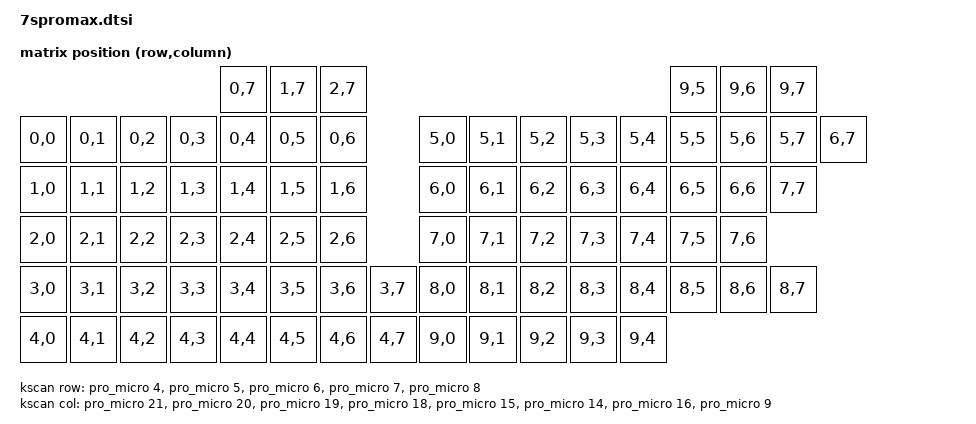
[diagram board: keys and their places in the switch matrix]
/*
 * 7sProMax shield (shared part) for ZMK v0.3.
 *
 * Matrix wiring is taken from the official BLE Micro Pro configuration
 * for this keyboard (see NOTES.md for the full evidence chain):
 *   - each half scans its own 5 rows x 8 cols matrix
 *   - driven lines (BMP config row_pins 7,8,9,10,11)
 *       -> Pro Micro D4, D5, D6, D7, D8
 *   - read lines (BMP config col_pins 20,19,18,17,16,15,14,12)
 *       -> Pro Micro A3, A2, A1, A0, D15, D14, D16, D9
 *   - diode direction: COL2ROW (BMP config diode_direction = 0)
 * Both halves use the SAME footprint pin assignment (the official
 * master and slave configs differ only in the is-left flag).
 *
 * The shared matrix transform is 10 rows x 8 cols, mirroring the BMP
 * firmware's global matrix: left half = rows 0-4, right half = rows 5-9
 * (the right overlay sets row-offset = 5).
 *
 * SPDX-License-Identifier: MIT
 */

#include <dt-bindings/zmk/matrix_transform.h>
#include <physical_layouts.dtsi>

/ {
    chosen {
        zmk,kscan = &kscan;
        zmk,physical-layout = &spromax_layout;
    };

    kscan: kscan {
        compatible = "zmk,kscan-gpio-matrix";
        diode-direction = "col2row";

        row-gpios
            = <&pro_micro 4 (GPIO_ACTIVE_HIGH | GPIO_PULL_DOWN)>
            , <&pro_micro 5 (GPIO_ACTIVE_HIGH | GPIO_PULL_DOWN)>
            , <&pro_micro 6 (GPIO_ACTIVE_HIGH | GPIO_PULL_DOWN)>
            , <&pro_micro 7 (GPIO_ACTIVE_HIGH | GPIO_PULL_DOWN)>
            , <&pro_micro 8 (GPIO_ACTIVE_HIGH | GPIO_PULL_DOWN)>
            ;

        col-gpios
            = <&pro_micro 21 GPIO_ACTIVE_HIGH>
            , <&pro_micro 20 GPIO_ACTIVE_HIGH>
            , <&pro_micro 19 GPIO_ACTIVE_HIGH>
            , <&pro_micro 18 GPIO_ACTIVE_HIGH>
            , <&pro_micro 15 GPIO_ACTIVE_HIGH>
            , <&pro_micro 14 GPIO_ACTIVE_HIGH>
            , <&pro_micro 16 GPIO_ACTIVE_HIGH>
            , <&pro_micro 9  GPIO_ACTIVE_HIGH>
            ;
    };

    matrix_transform: keymap_transform {
        compatible = "zmk,matrix-transform";
        rows = <10>;
        columns = <8>;
        map = <
        RC(0,0) RC(0,1) RC(0,2) RC(0,3) RC(0,4) RC(0,5) RC(0,6) RC(0,7)
        RC(1,0) RC(1,1) RC(1,2) RC(1,3) RC(1,4) RC(1,5) RC(1,6) RC(1,7)
        RC(2,0) RC(2,1) RC(2,2) RC(2,3) RC(2,4) RC(2,5) RC(2,6) RC(2,7)
        RC(3,0) RC(3,1) RC(3,2) RC(3,3) RC(3,4) RC(3,5) RC(3,6) RC(3,7)
        RC(4,0) RC(4,1) RC(4,2) RC(4,3) RC(4,4) RC(4,5) RC(4,6) RC(4,7)
        RC(5,0) RC(5,1) RC(5,2) RC(5,3) RC(5,4) RC(5,5) RC(5,6) RC(5,7)
        RC(6,0) RC(6,1) RC(6,2) RC(6,3) RC(6,4) RC(6,5) RC(6,6) RC(6,7)
        RC(7,0) RC(7,1) RC(7,2) RC(7,3) RC(7,4) RC(7,5) RC(7,6) RC(7,7)
        RC(8,0) RC(8,1) RC(8,2) RC(8,3) RC(8,4) RC(8,5) RC(8,6) RC(8,7)
        RC(9,0) RC(9,1) RC(9,2) RC(9,3) RC(9,4) RC(9,5) RC(9,6) RC(9,7)
        >;
    };

    /* Physical layout for ZMK Studio (required when CONFIG_ZMK_STUDIO
     * is enabled: physical_layouts.c asserts a zmk,physical-layout
     * chosen node instead of a chosen matrix transform).
     * Keys are listed in transform order (RC row-major, 10x8 = 80).
     * Coordinates are display-only approximations of the docked unit:
     * tact switches on their own row (y=0), MX bands A-E at y=100..500,
     * left half x=0..700, right half x=800..1600. Band spillovers from
     * the real matrix (see MAPPING.md): RC(6,7) ends band A,
     * RC(7,7) ends band B. All keys 1x1 for now (the bottom-row 2u
     * position is not yet confirmed on the real board). */
    spromax_layout: spromax_layout {
        compatible = "zmk,physical-layout";
        display-name = "7sProMax";
        transform = <&matrix_transform>;

        keys  //                     w   h    x    y     rot    rx    ry
            = <&key_physical_attrs 100 100     0  100       0     0     0>  // RC(0,0)
            , <&key_physical_attrs 100 100   100  100       0     0     0>  // RC(0,1)
            , <&key_physical_attrs 100 100   200  100       0     0     0>  // RC(0,2)
            , <&key_physical_attrs 100 100   300  100       0     0     0>  // RC(0,3)
            , <&key_physical_attrs 100 100   400  100       0     0     0>  // RC(0,4)
            , <&key_physical_attrs 100 100   500  100       0     0     0>  // RC(0,5)
            , <&key_physical_attrs 100 100   600  100       0     0     0>  // RC(0,6)
            , <&key_physical_attrs 100 100   400    0       0     0     0>  // RC(0,7) tact
            , <&key_physical_attrs 100 100     0  200       0     0     0>  // RC(1,0)
            , <&key_physical_attrs 100 100   100  200       0     0     0>  // RC(1,1)
            , <&key_physical_attrs 100 100   200  200       0     0     0>  // RC(1,2)
            , <&key_physical_attrs 100 100   300  200       0     0     0>  // RC(1,3)
            , <&key_physical_attrs 100 100   400  200       0     0     0>  // RC(1,4)
            , <&key_physical_attrs 100 100   500  200       0     0     0>  // RC(1,5)
            , <&key_physical_attrs 100 100   600  200       0     0     0>  // RC(1,6)
            , <&key_physical_attrs 100 100   500    0       0     0     0>  // RC(1,7) tact
            , <&key_physical_attrs 100 100     0  300       0     0     0>  // RC(2,0)
            , <&key_physical_attrs 100 100   100  300       0     0     0>  // RC(2,1)
            , <&key_physical_attrs 100 100   200  300       0     0     0>  // RC(2,2)
            , <&key_physical_attrs 100 100   300  300       0     0     0>  // RC(2,3)
            , <&key_physical_attrs 100 100   400  300       0     0     0>  // RC(2,4)
            , <&key_physical_attrs 100 100   500  300       0     0     0>  // RC(2,5)
            , <&key_physical_attrs 100 100   600  300       0     0     0>  // RC(2,6)
            , <&key_physical_attrs 100 100   600    0       0     0     0>  // RC(2,7) tact
            , <&key_physical_attrs 100 100     0  400       0     0     0>  // RC(3,0)
            , <&key_physical_attrs 100 100   100  400       0     0     0>  // RC(3,1)
            , <&key_physical_attrs 100 100   200  400       0     0     0>  // RC(3,2)
            , <&key_physical_attrs 100 100   300  400       0     0     0>  // RC(3,3)
            , <&key_physical_attrs 100 100   400  400       0     0     0>  // RC(3,4)
            , <&key_physical_attrs 100 100   500  400       0     0     0>  // RC(3,5)
            , <&key_physical_attrs 100 100   600  400       0     0     0>  // RC(3,6)
            , <&key_physical_attrs 100 100   700  400       0     0     0>  // RC(3,7)
            , <&key_physical_attrs 100 100     0  500       0     0     0>  // RC(4,0)
            , <&key_physical_attrs 100 100   100  500       0     0     0>  // RC(4,1)
            , <&key_physical_attrs 100 100   200  500       0     0     0>  // RC(4,2)
            , <&key_physical_attrs 100 100   300  500       0     0     0>  // RC(4,3)
            , <&key_physical_attrs 100 100   400  500       0     0     0>  // RC(4,4)
            , <&key_physical_attrs 100 100   500  500       0     0     0>  // RC(4,5)
            , <&key_physical_attrs 100 100   600  500       0     0     0>  // RC(4,6)
            , <&key_physical_attrs 100 100   700  500       0     0     0>  // RC(4,7)
            , <&key_physical_attrs 100 100   800  100       0     0     0>  // RC(5,0)
            , <&key_physical_attrs 100 100   900  100       0     0     0>  // RC(5,1)
            , <&key_physical_attrs 100 100  1000  100       0     0     0>  // RC(5,2)
            , <&key_physical_attrs 100 100  1100  100       0     0     0>  // RC(5,3)
            , <&key_physical_attrs 100 100  1200  100       0     0     0>  // RC(5,4)
            , <&key_physical_attrs 100 100  1300  100       0     0     0>  // RC(5,5)
            , <&key_physical_attrs 100 100  1400  100       0     0     0>  // RC(5,6)
            , <&key_physical_attrs 100 100  1500  100       0     0     0>  // RC(5,7)
            , <&key_physical_attrs 100 100   800  200       0     0     0>  // RC(6,0)
            , <&key_physical_attrs 100 100   900  200       0     0     0>  // RC(6,1)
            , <&key_physical_attrs 100 100  1000  200       0     0     0>  // RC(6,2)
            , <&key_physical_attrs 100 100  1100  200       0     0     0>  // RC(6,3)
            , <&key_physical_attrs 100 100  1200  200       0     0     0>  // RC(6,4)
            , <&key_physical_attrs 100 100  1300  200       0     0     0>  // RC(6,5)
            , <&key_physical_attrs 100 100  1400  200       0     0     0>  // RC(6,6)
            , <&key_physical_attrs 100 100  1600  100       0     0     0>  // RC(6,7)
            , <&key_physical_attrs 100 100   800  300       0     0     0>  // RC(7,0)
            , <&key_physical_attrs 100 100   900  300       0     0     0>  // RC(7,1)
            , <&key_physical_attrs 100 100  1000  300       0     0     0>  // RC(7,2)
            , <&key_physical_attrs 100 100  1100  300       0     0     0>  // RC(7,3)
            , <&key_physical_attrs 100 100  1200  300       0     0     0>  // RC(7,4)
            , <&key_physical_attrs 100 100  1300  300       0     0     0>  // RC(7,5)
            , <&key_physical_attrs 100 100  1400  300       0     0     0>  // RC(7,6)
            , <&key_physical_attrs 100 100  1500  200       0     0     0>  // RC(7,7)
            , <&key_physical_attrs 100 100   800  400       0     0     0>  // RC(8,0)
            , <&key_physical_attrs 100 100   900  400       0     0     0>  // RC(8,1)
            , <&key_physical_attrs 100 100  1000  400       0     0     0>  // RC(8,2)
            , <&key_physical_attrs 100 100  1100  400       0     0     0>  // RC(8,3)
            , <&key_physical_attrs 100 100  1200  400       0     0     0>  // RC(8,4)
            , <&key_physical_attrs 100 100  1300  400       0     0     0>  // RC(8,5)
            , <&key_physical_attrs 100 100  1400  400       0     0     0>  // RC(8,6)
            , <&key_physical_attrs 100 100  1500  400       0     0     0>  // RC(8,7)
            , <&key_physical_attrs 100 100   800  500       0     0     0>  // RC(9,0)
            , <&key_physical_attrs 100 100   900  500       0     0     0>  // RC(9,1)
            , <&key_physical_attrs 100 100  1000  500       0     0     0>  // RC(9,2)
            , <&key_physical_attrs 100 100  1100  500       0     0     0>  // RC(9,3)
            , <&key_physical_attrs 100 100  1200  500       0     0     0>  // RC(9,4)
            , <&key_physical_attrs 100 100  1300    0       0     0     0>  // RC(9,5) tact
            , <&key_physical_attrs 100 100  1400    0       0     0     0>  // RC(9,6) tact
            , <&key_physical_attrs 100 100  1500    0       0     0     0>  // RC(9,7) tact
            ;
    };
};
